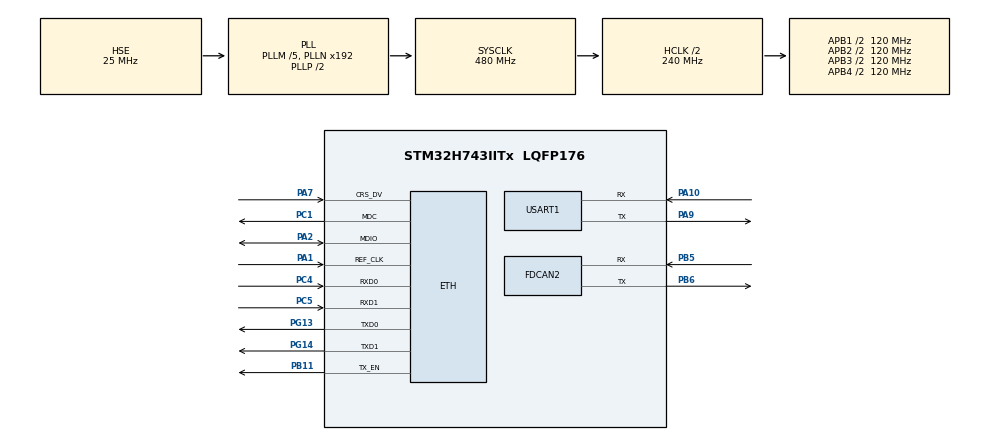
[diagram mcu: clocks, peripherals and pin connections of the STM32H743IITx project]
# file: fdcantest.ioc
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CORTEX_M7.CPU_DCache=Enabled
CORTEX_M7.CPU_ICache=Enabled
CORTEX_M7.default_mode_Activation=1
ETH.MediaInterface=HAL_ETH_RMII_MODE
FDCAN2.AutoRetransmission=ENABLE
FDCAN2.CalculateBaudRateNominal=1000000
FDCAN2.CalculateTimeBitNominal=1000
FDCAN2.CalculateTimeQuantumNominal=12.5
FDCAN2.DataSyncJumpWidth=2
FDCAN2.DataTimeSeg1=11
FDCAN2.DataTimeSeg2=4
FDCAN2.ExtFiltersNbr=4
FDCAN2.FrameFormat=FDCAN_FRAME_FD_BRS
FDCAN2.NominalPrescaler=1
FDCAN2.NominalSyncJumpWidth=20
FDCAN2.NominalTimeSeg1=59
FDCAN2.NominalTimeSeg2=20
FDCAN2.ProtocolException=ENABLE
FDCAN2.RxBufferSize=FDCAN_DATA_BYTES_8
FDCAN2.RxBuffersNbr=2
FDCAN2.RxFifo0ElmtSize=FDCAN_DATA_BYTES_8
FDCAN2.RxFifo0ElmtsNbr=10
FDCAN2.RxFifo1ElmtSize=FDCAN_DATA_BYTES_8
FDCAN2.RxFifo1ElmtsNbr=10
FDCAN2.StdFiltersNbr=4
FDCAN2.TxBuffersNbr=10
FDCAN2.TxElmtSize=FDCAN_DATA_BYTES_8
FDCAN2.TxEventsNbr=10
FDCAN2.TxFifoQueueElmtsNbr=10
LWIP.BSP.number=1
LWIP.LWIP_NETIF_STATUS_CALLBACK=1
LWIP.MEM_SIZE=16*1024
LWIP.TCP_QUEUE_OOSEQ=0
LWIP.Version=v2.2.1_Cube
LWIP0.BSP.STBoard=false
LWIP0.BSP.api=BSP_COMPONENT_DRIVER
LWIP0.BSP.component=LAN8742
LWIP0.BSP.instance=LAN8742
LWIP0.BSP.name=Driver_PHY
LWIP0.BSP.semaphore=S_LAN8742
LWIP0.BSP.solution=LAN8742
Mcu.Family=STM32H7
Mcu.Name=STM32H743IITx
Mcu.Package=LQFP176
NVIC.ETH_IRQn=true\:6\:0\:false\:false\:true\:true\:true\:true
NVIC.ETH_WKUP_IRQn=false\:0\:0\:false\:false\:false\:false\:false\:false
NVIC.FDCAN2_IT0_IRQn=true\:0\:0\:false\:false\:true\:true\:true\:true
NVIC.FDCAN2_IT1_IRQn=true\:0\:0\:false\:false\:true\:true\:true\:true
NVIC.FDCAN_CAL_IRQn=true\:5\:0\:false\:false\:true\:true\:true\:true
NVIC.PriorityGroup=NVIC_PRIORITYGROUP_4
NVIC.USART1_IRQn=true\:5\:0\:false\:false\:true\:true\:true\:true
PA1.Mode=RMII
PA1.Signal=ETH_REF_CLK
PA10.Mode=Asynchronous
PA10.Signal=USART1_RX
PA2.Mode=RMII
PA2.Signal=ETH_MDIO
PA7.Mode=RMII
PA7.Signal=ETH_CRS_DV
PA9.Mode=Asynchronous
PA9.Signal=USART1_TX
PB11.Mode=RMII
PB11.Signal=ETH_TX_EN
PB5.Mode=FDCAN_Activate
PB5.Signal=FDCAN2_RX
PB6.Mode=FDCAN_Activate
PB6.Signal=FDCAN2_TX
PC1.Mode=RMII
PC1.Signal=ETH_MDC
PC4.Mode=RMII
PC4.Signal=ETH_RXD0
PC5.Mode=RMII
PC5.Signal=ETH_RXD1
PG13.Mode=RMII
PG13.Signal=ETH_TXD0
PG14.Mode=RMII
PG14.Signal=ETH_TXD1
PH0-OSC_IN\ (PH0).Mode=HSE-External-Oscillator
PH0-OSC_IN\ (PH0).Signal=RCC_OSC_IN
PH1-OSC_OUT\ (PH1).Mode=HSE-External-Oscillator
PH1-OSC_OUT\ (PH1).Signal=RCC_OSC_OUT
ProjectManager.HeapSize=0x200
ProjectManager.StackSize=0x400
ProjectManager.TargetToolchain=CMake
RCC.ADCFreq_Value=75000000
RCC.APB1Freq_Value=120000000
RCC.APB2Freq_Value=120000000
RCC.APB3Freq_Value=120000000
RCC.APB4Freq_Value=120000000
RCC.CortexFreq_Value=480000000
RCC.D1PPRE=RCC_APB3_DIV2
RCC.D2PPRE1=RCC_APB1_DIV2
RCC.D2PPRE2=RCC_APB2_DIV2
RCC.D3PPRE=RCC_APB4_DIV2
RCC.DIVM1=5
RCC.DIVM2=2
RCC.DIVN1=192
RCC.DIVN2=12
RCC.DIVN3=270
RCC.DIVQ1=12
RCC.HCLKFreq_Value=240000000
RCC.HPRE=RCC_HCLK_DIV2
RCC.PLL2FRACN=0
RCC.PLLFRACN=0
RCC.PLLSourceVirtual=RCC_PLLSOURCE_HSE
RCC.SYSCLKFreq_VALUE=480000000
RCC.SYSCLKSource=RCC_SYSCLKSOURCE_PLLCLK
RCC.USBFreq_Value=80000000
USART1.VirtualMode-Asynchronous=VM_ASYNC
VP_LWIP_VS_Enabled.Mode=Enabled
VP_MEMORYMAP_VS_MEMORYMAP.Mode=CurAppReg
board=custom

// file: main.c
/* USER CODE BEGIN Header */
/**
  ******************************************************************************
  * @file           : main.c
  * @brief          : Main program body
  ******************************************************************************
  * @attention
  *
  * Copyright (c) 2026 STMicroelectronics.
  * All rights reserved.
  *
  * This software is licensed under terms that can be found in the LICENSE file
  * in the root directory of this software component.
  * If no LICENSE file comes with this software, it is provided AS-IS.
  *
  ******************************************************************************
  */
/* USER CODE END Header */
#include "main.h"

/* USER CODE BEGIN Includes */
#include "app_sdram.h"
#include "app_startup.h"
#include "dm_motor.h"
/* USER CODE END Includes */

FDCAN_HandleTypeDef hfdcan2;

UART_HandleTypeDef huart1;

void SystemClock_Config(void);
static void MPU_Config(void);
static void MX_GPIO_Init(void);
static void MX_FDCAN2_Init(void);
static void MX_USART1_UART_Init(void);

/* USER CODE BEGIN 0 */
#ifdef FW_LOADER_BUILD
void Netboot_UartInit(void){MX_USART1_UART_Init();}
#endif

/* USER CODE END 0 */

int main(void)
{

  /* USER CODE BEGIN 1 */
#ifdef FW_LOADER_BUILD
  extern int Netboot_Run(void);
  return Netboot_Run();
#endif
#ifdef FW_NETBOOT_APP
  extern const uint32_t g_pfnVectors[];
  SCB->VTOR=(uint32_t)g_pfnVectors;__DSB();__ISB();
#endif
  AppStartup_ConfigEthernetMemory();
  AppSdram_ConfigMpu();
  /* USER CODE END 1 */

  /* MPU Configuration--------------------------------------------------------*/
  MPU_Config();

  /* Enable the CPU Cache */

  /* Enable I-Cache---------------------------------------------------------*/
  SCB_EnableICache();

  /* Enable D-Cache---------------------------------------------------------*/
  SCB_EnableDCache();

  /* MCU Configuration--------------------------------------------------------*/

  /* Reset of all peripherals, Initializes the Flash interface and the Systick. */
  HAL_Init();

  /* Configure the system clock */
  SystemClock_Config();

  /* USER CODE BEGIN SysInit */
  AppStartup_DwtInit();
  /* USER CODE END SysInit */

  /* Initialize all configured peripherals */
  MX_GPIO_Init();
  MX_FDCAN2_Init();
  MX_USART1_UART_Init();
  /* USER CODE BEGIN 2 */
  /* Performs UART/FDCAN initialization, creates the Ethernet and motor-start
   * tasks, then starts the scheduler.  Ethernet probes the boot link before
   * the motor-start task proceeds.  This does not return in normal use. */
  AppStartup_Run();
  Error_Handler();
  /* USER CODE END 2 */

  /* Infinite loop */
  while (1)
  {

  }
}

void SystemClock_Config(void)
{
  RCC_OscInitTypeDef RCC_OscInitStruct = {0};
  RCC_ClkInitTypeDef RCC_ClkInitStruct = {0};

  /** Supply configuration update enable
  */
  HAL_PWREx_ConfigSupply(PWR_LDO_SUPPLY);

  /** Configure the main internal regulator output voltage
  */
  __HAL_PWR_VOLTAGESCALING_CONFIG(PWR_REGULATOR_VOLTAGE_SCALE0);

  while(!__HAL_PWR_GET_FLAG(PWR_FLAG_VOSRDY)) {}

  /** Initializes the RCC Oscillators according to the specified parameters
  * in the RCC_OscInitTypeDef structure.
  */
  RCC_OscInitStruct.OscillatorType = RCC_OSCILLATORTYPE_HSI|RCC_OSCILLATORTYPE_HSE;
  RCC_OscInitStruct.HSEState = RCC_HSE_ON;
  RCC_OscInitStruct.HSIState = RCC_HSI_DIV1;
  RCC_OscInitStruct.HSICalibrationValue = RCC_HSICALIBRATION_DEFAULT;
  RCC_OscInitStruct.PLL.PLLState = RCC_PLL_ON;
  RCC_OscInitStruct.PLL.PLLSource = RCC_PLLSOURCE_HSE;
  RCC_OscInitStruct.PLL.PLLM = 5;
  RCC_OscInitStruct.PLL.PLLN = 192;
  RCC_OscInitStruct.PLL.PLLP = 2;
  RCC_OscInitStruct.PLL.PLLQ = 12;
  RCC_OscInitStruct.PLL.PLLR = 2;
  RCC_OscInitStruct.PLL.PLLRGE = RCC_PLL1VCIRANGE_2;
  RCC_OscInitStruct.PLL.PLLVCOSEL = RCC_PLL1VCOWIDE;
  RCC_OscInitStruct.PLL.PLLFRACN = 0;
  if (HAL_RCC_OscConfig(&RCC_OscInitStruct) != HAL_OK)
  {
    Error_Handler();
  }

  /** Initializes the CPU, AHB and APB buses clocks
  */
  RCC_ClkInitStruct.ClockType = RCC_CLOCKTYPE_HCLK|RCC_CLOCKTYPE_SYSCLK
                              |RCC_CLOCKTYPE_PCLK1|RCC_CLOCKTYPE_PCLK2
                              |RCC_CLOCKTYPE_D3PCLK1|RCC_CLOCKTYPE_D1PCLK1;
  RCC_ClkInitStruct.SYSCLKSource = RCC_SYSCLKSOURCE_PLLCLK;
  RCC_ClkInitStruct.SYSCLKDivider = RCC_SYSCLK_DIV1;
  RCC_ClkInitStruct.AHBCLKDivider = RCC_HCLK_DIV2;
  RCC_ClkInitStruct.APB3CLKDivider = RCC_APB3_DIV2;
  RCC_ClkInitStruct.APB1CLKDivider = RCC_APB1_DIV2;
  RCC_ClkInitStruct.APB2CLKDivider = RCC_APB2_DIV2;
  RCC_ClkInitStruct.APB4CLKDivider = RCC_APB4_DIV2;

  if (HAL_RCC_ClockConfig(&RCC_ClkInitStruct, FLASH_LATENCY_4) != HAL_OK)
  {
    Error_Handler();
  }
  /* The Wildfire LAN8720A supplies the 50 MHz RMII reference clock from its
   * 25 MHz crystal on PA1 (ETH_REF_CLK).  PA8/MCO1 is not part of the RMII
   * interface and must remain unused; driving it at 64 MHz only consumes a
   * pin and can confuse board-level clock probing. */
}

static void MX_FDCAN2_Init(void)
{

  hfdcan2.Instance = FDCAN2;
  hfdcan2.Init.FrameFormat = FDCAN_FRAME_FD_BRS;
  hfdcan2.Init.Mode = FDCAN_MODE_NORMAL;
  hfdcan2.Init.AutoRetransmission = ENABLE;
  hfdcan2.Init.TransmitPause = DISABLE;
  hfdcan2.Init.ProtocolException = ENABLE;
  hfdcan2.Init.NominalPrescaler = 1;
  hfdcan2.Init.NominalSyncJumpWidth = 20;
  hfdcan2.Init.NominalTimeSeg1 = 59;
  hfdcan2.Init.NominalTimeSeg2 = 20;
  hfdcan2.Init.DataPrescaler = 1;
  hfdcan2.Init.DataSyncJumpWidth = 2;
  hfdcan2.Init.DataTimeSeg1 = 11;
  hfdcan2.Init.DataTimeSeg2 = 4;
  hfdcan2.Init.MessageRAMOffset = 0;
  hfdcan2.Init.StdFiltersNbr = 4;
  hfdcan2.Init.ExtFiltersNbr = 4;
  hfdcan2.Init.RxFifo0ElmtsNbr = 10;
  hfdcan2.Init.RxFifo0ElmtSize = FDCAN_DATA_BYTES_8;
  hfdcan2.Init.RxFifo1ElmtsNbr = 10;
  hfdcan2.Init.RxFifo1ElmtSize = FDCAN_DATA_BYTES_8;
  hfdcan2.Init.RxBuffersNbr = 2;
  hfdcan2.Init.RxBufferSize = FDCAN_DATA_BYTES_8;
  hfdcan2.Init.TxEventsNbr = 10;
  hfdcan2.Init.TxBuffersNbr = 10;
  hfdcan2.Init.TxFifoQueueElmtsNbr = 10;
  hfdcan2.Init.TxFifoQueueMode = FDCAN_TX_FIFO_OPERATION;
  hfdcan2.Init.TxElmtSize = FDCAN_DATA_BYTES_8;
  if (HAL_FDCAN_Init(&hfdcan2) != HAL_OK)
  {
    Error_Handler();
  }

}

static void MX_USART1_UART_Init(void)
{

  huart1.Instance = USART1;
  huart1.Init.BaudRate = 115200;
  huart1.Init.WordLength = UART_WORDLENGTH_8B;
  huart1.Init.StopBits = UART_STOPBITS_1;
  huart1.Init.Parity = UART_PARITY_NONE;
  huart1.Init.Mode = UART_MODE_TX_RX;
  huart1.Init.HwFlowCtl = UART_HWCONTROL_NONE;
  huart1.Init.OverSampling = UART_OVERSAMPLING_16;
  huart1.Init.OneBitSampling = UART_ONE_BIT_SAMPLE_DISABLE;
  huart1.Init.ClockPrescaler = UART_PRESCALER_DIV1;
  huart1.AdvancedInit.AdvFeatureInit = UART_ADVFEATURE_NO_INIT;
  if (HAL_UART_Init(&huart1) != HAL_OK)
  {
    Error_Handler();
  }
  if (HAL_UARTEx_SetTxFifoThreshold(&huart1, UART_TXFIFO_THRESHOLD_1_8) != HAL_OK)
  {
    Error_Handler();
  }
  if (HAL_UARTEx_SetRxFifoThreshold(&huart1, UART_RXFIFO_THRESHOLD_1_8) != HAL_OK)
  {
    Error_Handler();
  }
  if (HAL_UARTEx_DisableFifoMode(&huart1) != HAL_OK)
  {
    Error_Handler();
  }

}

static void MX_GPIO_Init(void)
{

  /* GPIO Ports Clock Enable */
  __HAL_RCC_GPIOH_CLK_ENABLE();
  __HAL_RCC_GPIOC_CLK_ENABLE();
  __HAL_RCC_GPIOA_CLK_ENABLE();
  __HAL_RCC_GPIOB_CLK_ENABLE();
  __HAL_RCC_GPIOG_CLK_ENABLE();

}

 /* MPU Configuration */

void MPU_Config(void)
{
  MPU_Region_InitTypeDef MPU_InitStruct = {0};

  /* Disables the MPU */
  HAL_MPU_Disable();

  /** Initializes and configures the Region and the memory to be protected
  */
  MPU_InitStruct.Enable = MPU_REGION_ENABLE;
  MPU_InitStruct.Number = MPU_REGION_NUMBER0;
  MPU_InitStruct.BaseAddress = 0x0;
  MPU_InitStruct.Size = MPU_REGION_SIZE_4GB;
  MPU_InitStruct.SubRegionDisable = 0x87;
  MPU_InitStruct.TypeExtField = MPU_TEX_LEVEL0;
  MPU_InitStruct.AccessPermission = MPU_REGION_NO_ACCESS;
  MPU_InitStruct.DisableExec = MPU_INSTRUCTION_ACCESS_DISABLE;
  MPU_InitStruct.IsShareable = MPU_ACCESS_SHAREABLE;
  MPU_InitStruct.IsCacheable = MPU_ACCESS_NOT_CACHEABLE;
  MPU_InitStruct.IsBufferable = MPU_ACCESS_NOT_BUFFERABLE;

  HAL_MPU_ConfigRegion(&MPU_InitStruct);

  /* Enables the MPU */
  HAL_MPU_Enable(MPU_PRIVILEGED_DEFAULT);

}

void Error_Handler(void)
{
  __disable_irq();
  while (1)
  {
  }
}
